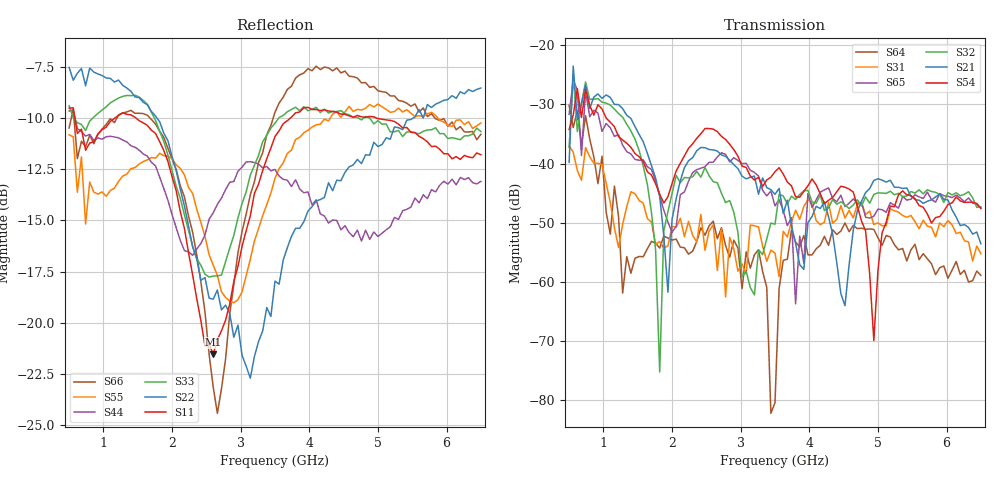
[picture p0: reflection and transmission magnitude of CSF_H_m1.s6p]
!Keysight Technologies,M9804A,MY58100912,A.14.10.03
!Date: Thursday, April 27, 2023 10:28:33
!Correction: S11(C  6-Port  )
!S12(C  6-Port  )
!S13(C  6-Port  )
!S14(C  6-Port  )
!S15(C  6-Port  )
!S16(C  6-Port  )
!S21(C  6-Port  )
!S22(C  6-Port  )
!S23(C  6-Port  )
!S24(C  6-Port  )
!S25(C  6-Port  )
!S26(C  6-Port  )
!S31(C  6-Port  )
!S32(C  6-Port  )
!S33(C  6-Port  )
!S34(C  6-Port  )
!S35(C  6-Port  )
!S36(C  6-Port  )
!S41(C  6-Port  )
!S42(C  6-Port  )
!S43(C  6-Port  )
!S44(C  6-Port  )
!S45(C  6-Port  )
!S46(C  6-Port  )
!S51(C  6-Port  )
!S52(C  6-Port  )
!S53(C  6-Port  )
!S54(C  6-Port  )
!S55(C  6-Port  )
!S56(C  6-Port  )
!S61(C  6-Port  )
!S62(C  6-Port  )
!S63(C  6-Port  )
!S64(C  6-Port  )
!S65(C  6-Port  )
!S66(C  6-Port  )
!S6P File: Measurement: :
# Hz S  RI  R 50
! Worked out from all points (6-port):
!   101 points, 500 MHz to 6.5 GHz, reference 50 ohm
!   strongest paths, dB at 500 MHz, 2 GHz, 3.5 GHz, 5 GHz, 6.5 GHz:
!     S54: -34.2, -43.4, -41.4, -58.1, -47.6
!     S21: -39.8, -49.4, -45.2, -42.6, -53.6
!     S32: -37.2, -45.0, -50.3, -45.0, -47.3
!     S65: -31.7, -51.6, -47.1, -47.7, -47.5
!     S31: -37.0, -50.6, -55.1, -50.0, -55.2
!     S64: -30.1, -52.9, -80.4, -52.5, -58.9
!   lowest |S11| = -21.5 dB at 2.6 GHz (marker M1), VSWR 1.18, Z = 42.5 + j1.94 ohm
!   |S11| at or under -10 dB: 584.5 MHz to 1.162 GHz (577.6 MHz wide, 66.1 % of centre); 1.478 GHz to 3.72 GHz (2.242 GHz wide, 86.3 % of centre); 4.988 GHz to end of sweep
